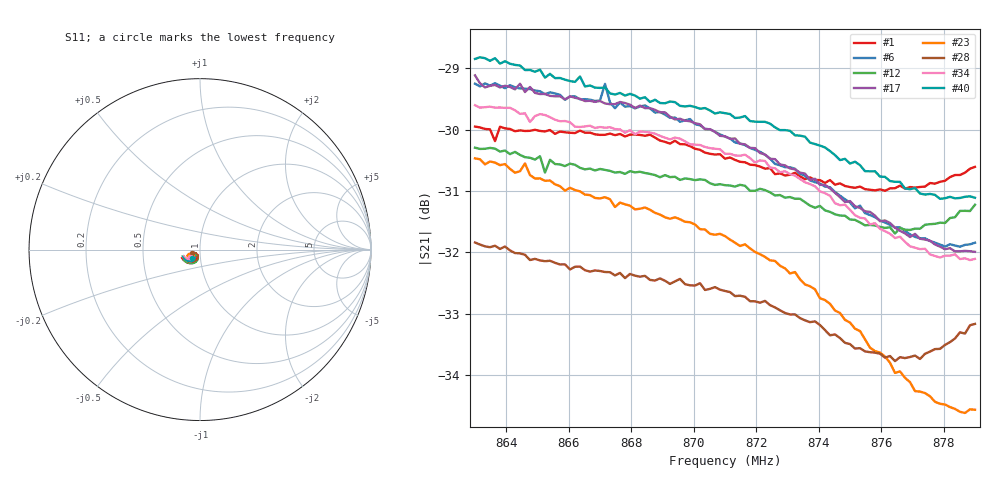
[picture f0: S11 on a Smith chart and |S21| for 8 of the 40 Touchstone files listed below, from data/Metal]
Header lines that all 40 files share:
# HZ S RI R 50
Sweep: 863 MHz to 879 MHz
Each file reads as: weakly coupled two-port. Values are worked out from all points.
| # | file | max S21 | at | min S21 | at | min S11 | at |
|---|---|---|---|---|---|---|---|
| 1 | mo19s6.s2p | -29.95 dB | 863 MHz | -31.0 dB | 876.12 MHz | -25.6 dB | 864.44 MHz |
| 2 | mo19s7.s2p | -28.20 dB | 870.04 MHz | -28.5 dB | 875.96 MHz | -23.9 dB | 863 MHz |
| 3 | mo19s8.s2p | -29.26 dB | 879 MHz | -31.0 dB | 865.24 MHz | -35.8 dB | 863.8 MHz |
| 4 | mo19s11.s2p | -30.85 dB | 863 MHz | -31.8 dB | 876.44 MHz | -26.9 dB | 864.44 MHz |
| 5 | mo20s0.s2p | -29.08 dB | 863.96 MHz | -31.5 dB | 879 MHz | -23.9 dB | 865.4 MHz |
| 6 | mo20s2.s2p | -29.24 dB | 863.64 MHz | -31.9 dB | 878.52 MHz | -25.7 dB | 865.4 MHz |
| 7 | mo20s9.s2p | -28.89 dB | 863.64 MHz | -31.0 dB | 878.84 MHz | -24.1 dB | 865.08 MHz |
| 8 | mo20s10.s2p | -29.02 dB | 863.96 MHz | -31.0 dB | 879 MHz | -24.4 dB | 865.56 MHz |
| 9 | mo21s0.s2p | -31.18 dB | 863.64 MHz | -32.6 dB | 876.12 MHz | -31.2 dB | 866.04 MHz |
| 10 | mo21s2.s2p | -31.62 dB | 863 MHz | -32.3 dB | 876.44 MHz | -32.6 dB | 865.24 MHz |
| 11 | mo21s6.s2p | -30.31 dB | 864.6 MHz | -32.2 dB | 877.24 MHz | -29.4 dB | 864.6 MHz |
| 12 | mo21s10.s2p | -30.29 dB | 863 MHz | -31.7 dB | 876.44 MHz | -28.6 dB | 864.44 MHz |
| 13 | mo22s7.s2p | -30.49 dB | 863 MHz | -32.6 dB | 877.88 MHz | -26.7 dB | 866.04 MHz |
| 14 | mo22s8.s2p | -30.19 dB | 863 MHz | -34.7 dB | 878.84 MHz | -26.0 dB | 868.12 MHz |
| 15 | mo22s10.s2p | -30.81 dB | 863 MHz | -32.7 dB | 876.92 MHz | -27.4 dB | 865.56 MHz |
| 16 | mo23s7.s2p | -29.70 dB | 863.96 MHz | -33.3 dB | 878.52 MHz | -26.1 dB | 868.12 MHz |
| 17 | mo25s3.s2p | -29.11 dB | 863 MHz | -32.0 dB | 879 MHz | -24.3 dB | 866.04 MHz |
| 18 | mo25s7.s2p | -28.58 dB | 863.8 MHz | -32.1 dB | 878.84 MHz | -23.6 dB | 865.4 MHz |
| 19 | mo25s8.s2p | -29.13 dB | 863.48 MHz | -32.0 dB | 878.68 MHz | -24.4 dB | 865.56 MHz |
| 20 | mo26s1.s2p | -29.92 dB | 863.16 MHz | -32.3 dB | 879 MHz | -25.5 dB | 865.4 MHz |
| 21 | mo26s7.s2p | -30.90 dB | 863.16 MHz | -34.0 dB | 877.72 MHz | -29.1 dB | 865.56 MHz |
| 22 | mo26s8.s2p | -30.46 dB | 863.16 MHz | -33.5 dB | 878.04 MHz | -27.2 dB | 867 MHz |
| 23 | mo26s9.s2p | -30.47 dB | 863 MHz | -34.6 dB | 878.68 MHz | -26.5 dB | 867.96 MHz |
| 24 | mo26s10.s2p | -30.48 dB | 863.16 MHz | -34.0 dB | 878.36 MHz | -27.5 dB | 867.16 MHz |
| 25 | mo27s2.s2p | -30.78 dB | 863 MHz | -32.8 dB | 875.96 MHz | -30.2 dB | 865.4 MHz |
| 26 | mo27s3.s2p | -30.52 dB | 863 MHz | -33.2 dB | 877.24 MHz | -26.4 dB | 866.04 MHz |
| 27 | mo28s0.s2p | -31.34 dB | 863.32 MHz | -32.7 dB | 876.12 MHz | -32.4 dB | 865.08 MHz |
| 28 | mo28s2.s2p | -31.84 dB | 863 MHz | -33.8 dB | 876.44 MHz | -30.5 dB | 866.2 MHz |
| 29 | mo28s3.s2p | -31.58 dB | 863.16 MHz | -32.7 dB | 875.96 MHz | -31.5 dB | 865.56 MHz |
| 30 | mo28s11.s2p | -30.66 dB | 863 MHz | -32.1 dB | 878.04 MHz | -26.8 dB | 865.88 MHz |
| 31 | mo29s1.s2p | -30.32 dB | 863.64 MHz | -33.7 dB | 879 MHz | -26.0 dB | 867.96 MHz |
| 32 | mo29s2.s2p | -30.81 dB | 863 MHz | -33.8 dB | 878.2 MHz | -28.3 dB | 867.16 MHz |
| 33 | mo29s5.s2p | -30.69 dB | 863.16 MHz | -33.1 dB | 878.04 MHz | -27.1 dB | 867.64 MHz |
| 34 | mo30s8.s2p | -29.60 dB | 863 MHz | -32.1 dB | 878.84 MHz | -25.0 dB | 866.04 MHz |
| 35 | mo31s1.s2p | -28.42 dB | 863.16 MHz | -31.0 dB | 878.84 MHz | -23.0 dB | 866.04 MHz |
| 36 | mo31s2.s2p | -28.79 dB | 864.28 MHz | -31.7 dB | 879 MHz | -24.6 dB | 866.68 MHz |
| 37 | mo31s4.s2p | -29.51 dB | 864.6 MHz | -32.3 dB | 878.84 MHz | -25.3 dB | 867.8 MHz |
| 38 | mo31s5.s2p | -29.08 dB | 863 MHz | -31.5 dB | 879 MHz | -24.5 dB | 866.04 MHz |
| 39 | mo31s9.s2p | -29.12 dB | 863 MHz | -31.7 dB | 878.84 MHz | -24.5 dB | 866.04 MHz |
| 40 | mo31s10.s2p | -28.82 dB | 863.16 MHz | -31.1 dB | 877.88 MHz | -24.7 dB | 866.36 MHz |
